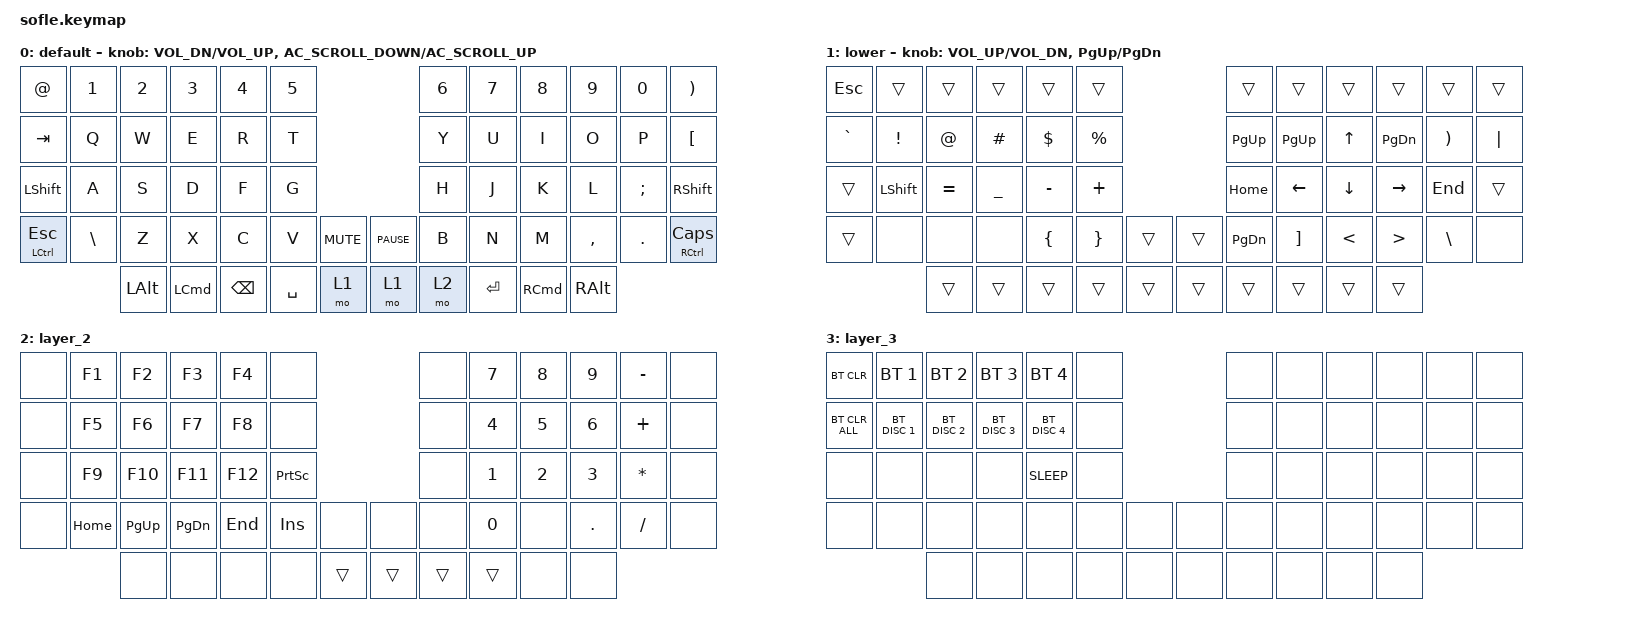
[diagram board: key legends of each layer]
/*
 * Copyright (c) 2020 The ZMK Contributors
 *
 * SPDX-License-Identifier: MIT
 */

#include <behaviors.dtsi>
#include <dt-bindings/zmk/bt.h>
#include <dt-bindings/zmk/keys.h>

#define BASE 0
#define LOWER 1
#define RAISE 2
#define ADJUST 3

/ {
    // Activate ADJUST layer by pressing raise and lower

    conditional_layers {
        compatible = "zmk,conditional-layers";

        adjust_layer {
            if-layers = <1 2>;
            then-layer = <3>;
        };
    };

    keymap {
        compatible = "zmk,keymap";

        default_layer {
            display-name = "default";

            // ------------------------------------------------------------------------------------------------------------
            // |   `   |  1  |  2  |  3   |  4   |  5   |                   |  6   |  7    |  8    |  9   |   0   |       |
            // |  ESC  |  Q  |  W  |  E   |  R   |  T   |                   |  Y   |  U    |  I    |  O   |   P   | BKSPC |
            // |  TAB  |  A  |  S  |  D   |  F   |  G   |                   |  H   |  J    |  K    |  L   |   ;   |   '   |
            // | SHIFT |  Z  |  X  |  C   |  V   |  B   |  MUTE  |  |       |  N   |  M    |  ,    |  .   |   /   | SHIFT |
            //               | GUI | ALT  | CTRL | LOWER|  ENTER |  | SPACE | RAISE| CTRL  | ALT   | GUI  |

            bindings = <
&kp AT            &kp N1         &kp N2        &kp N3            &kp N4         &kp N5                                &kp N6  &kp N7     &kp N8             &kp N9         &kp N0    &kp RIGHT_PARENTHESIS
&kp TAB           &kp Q          &kp W         &kp E             &kp R          &kp T                                 &kp Y   &kp U      &kp I              &kp O          &kp P     &kp LEFT_BRACKET
&kp LEFT_SHIFT    &kp A          &kp S         &kp D             &kp F          &kp G                                 &kp H   &kp J      &kp K              &kp L          &kp SEMI  &kp RIGHT_SHIFT
&mt LCTRL ESCAPE  &kp BACKSLASH  &kp Z         &kp X             &kp C          &kp V      &kp C_MUTE    &kp C_PAUSE  &kp B   &kp N      &kp M              &kp COMMA      &kp DOT   &mt RCTRL CAPSLOCK
                                 &kp LEFT_ALT  &kp LEFT_COMMAND  &kp BACKSPACE  &kp SPACE  &mo 1         &mo 1        &mo 2   &kp ENTER  &kp RIGHT_COMMAND  &kp RIGHT_ALT
            >;

            sensor-bindings =
                <&inc_dec_kp C_VOL_DN C_VOL_UP>,
                <&inc_dec_kp C_AC_SCROLL_DOWN C_AC_SCROLL_UP>;
        };

        lower_layer {
            display-name = "lower";

            // TODO: Some binds are waiting for shifted keycode support.
            // ------------------------------------------------------------------------------------------------------------
            // |       |  F1 |  F2 |  F3  |  F4  |  F5  |                   |  F6  |  F7   |  F8   |  F9  |  F10  |  F11  |
            // |   `   |  1  |  2  |  3   |  4   |  5   |                   |  6   |  7    |  8    |  9   |   0   |  F12  |
            // |       |  !  |  @  |  #   |  $   |  %   |                   |  ^   |  &    |  *    |  (   |   )   |   |   |
            // |       |  =  |  -  |  +   |  {   |  }   |        |  |       |  [   |  ]    |  ;    |  :   |   \   |       |
            //               |     |      |      |      |        |  |       |      |       |       |      |

            bindings = <
&kp ESCAPE  &trans           &trans       &trans     &trans      &trans                         &trans         &trans          &trans          &trans            &trans                 &trans
&kp GRAVE   &kp EXCLAMATION  &kp AT_SIGN  &kp HASH   &kp DOLLAR  &kp PERCENT                    &kp PAGE_UP    &kp PG_UP       &kp UP_ARROW    &kp PAGE_DOWN     &kp RIGHT_PARENTHESIS  &kp PIPE
&trans      &kp LEFT_SHIFT   &kp EQUAL    &kp UNDER  &kp MINUS   &kp PLUS                       &kp HOME       &kp LEFT_ARROW  &kp DOWN_ARROW  &kp RIGHT_ARROW   &kp END                &trans
&trans      &none            &none        &none      &kp LBRC    &kp RBRC     &trans    &trans  &kp PAGE_DOWN  &kp RBKT        &kp LESS_THAN   &kp GREATER_THAN  &kp BSLH               &none
                             &trans       &trans     &trans      &trans       &trans    &trans  &trans         &trans          &trans          &trans
            >;

            sensor-bindings =
                <&inc_dec_kp C_VOL_UP C_VOL_DN>,
                <&inc_dec_kp PAGE_UP PAGE_DOWN>;
        };

        layer_2 {
            bindings = <
&none  &kp F1    &kp F2       &kp F3         &kp F4   &none                              &none   &kp NUMBER_7  &kp NUMBER_8  &kp NUMBER_9  &kp MINUS     &none
&none  &kp F5    &kp F6       &kp F7         &kp F8   &none                              &none   &kp NUMBER_4  &kp NUMBER_5  &kp NUMBER_6  &kp PLUS      &none
&none  &kp F9    &kp F10      &kp F11        &kp F12  &kp PRINTSCREEN                    &none   &kp NUMBER_1  &kp NUMBER_2  &kp NUMBER_3  &kp ASTERISK  &none
&none  &kp HOME  &kp PAGE_UP  &kp PAGE_DOWN  &kp END  &kp INS          &none     &none   &none   &kp NUMBER_0  &none         &kp DOT       &kp SLASH     &none
                 &none        &none          &none    &none            &trans    &trans  &trans  &trans        &none         &none
            >;
        };

        layer_3 {
            bindings = <
&bt BT_CLR      &bt BT_SEL 1   &bt BT_SEL 2   &bt BT_SEL 3   &bt BT_SEL 4   &none                  &none  &none  &none  &none  &none  &none
&bt BT_CLR_ALL  &bt BT_DISC 1  &bt BT_DISC 2  &bt BT_DISC 3  &bt BT_DISC 4  &none                  &none  &none  &none  &none  &none  &none
&none           &none          &none          &none          &kp K_SLEEP    &none                  &none  &none  &none  &none  &none  &none
&none           &none          &none          &none          &none          &none  &none    &none  &none  &none  &none  &none  &none  &none
                               &none          &none          &none          &none  &none    &none  &none  &none  &none  &none
            >;
        };
    };
};
